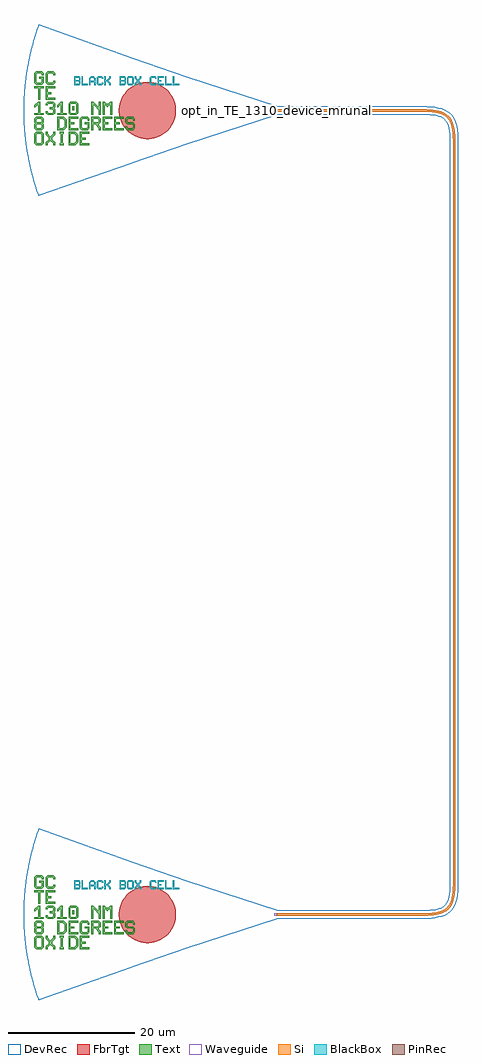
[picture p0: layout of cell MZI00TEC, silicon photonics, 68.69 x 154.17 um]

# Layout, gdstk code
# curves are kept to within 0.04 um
import gdstk
lib = gdstk.Library(unit=1e-6, precision=1e-09)
def R(c, l, rs):  # rectangles x0, y0, x1, y1
    for r in rs: c.add(gdstk.rectangle(r[:2], r[2:], *l))
def P(c, l, *ps):  # polygons
    for p in ps: c.add(gdstk.Polygon(p, *l))
Si = (1, 0)
PinRec = (1, 10)
Waveguide = (1, 99)
Text = (10, 0)
DevRec = (68, 0)
FbrTgt = (81, 0)
BlackBox = (998, 0)

text = lib.new_cell('TEXT')
P(text, BlackBox, [(0,0),(0,1.4),(0.8,1.4),(1,1.2),(0.2,1.2),(0.2,0.8),(0.7,0.8),(0.8,0.9),(0.8,1.1),(0.7,1.2),(1,1.2),(1,0.8),(0.9,0.7),(1,0.6),(0.2,0.6),(0.2,0.2),(0.7,0.2),(0.8,0.3),(0.8,0.5),(0.7,0.6),(1,0.6),(1,0.2),(0.8,0)],
  [(1.2,0),(1.2,1.4),(1.4,1.4),(1.4,0.2),(2.2,0.2),(2.2,0)],
  [(2.4,0),(2.4,1.1),(2.7,1.4),(3.1,1.4),(3.3,1.2),(2.8,1.2),(2.6,1),(2.6,0.7),(3.2,0.7),(3.2,1),(3,1.2),(3.3,1.2),(3.4,1.1),(3.4,0),(3.2,0),(3.2,0.5),(2.6,0.5),(2.6,0)],
  [(3.8,0),(3.6,0.2),(3.6,1.2),(3.8,1.4),(4.4,1.4),(4.6,1.2),(4.6,1),(4.4,1),(4.4,1.1),(4.3,1.2),(3.9,1.2),(3.8,1.1),(3.8,0.3),(3.9,0.2),(4.3,0.2),(4.4,0.3),(4.4,0.4),(4.6,0.4),(4.6,0.2),(4.4,0)],
  [(4.8,0),(4.8,1.4),(5,1.4),(5,0.8),(5.2,0.8),(5.6,1.2),(5.6,1.4),(5.8,1.4),(5.8,1.1),(5.4,0.7),(5.8,0.3),(5.8,0),(5.6,0),(5.6,0.2),(5.2,0.6),(5,0.6),(5,0)],
  [(7.2,0),(7.2,1.4),(8,1.4),(8.2,1.2),(7.4,1.2),(7.4,0.8),(7.9,0.8),(8,0.9),(8,1.1),(7.9,1.2),(8.2,1.2),(8.2,0.8),(8.1,0.7),(8.2,0.6),(7.4,0.6),(7.4,0.2),(7.9,0.2),(8,0.3),(8,0.5),(7.9,0.6),(8.2,0.6),(8.2,0.2),(8,0)],
  [(8.6,0),(8.4,0.2),(8.4,1.2),(8.6,1.4),(9.2,1.4),(9.4,1.2),(9.4,0.7),(9.2,0.7),(9.2,1.1),(9.1,1.2),(8.7,1.2),(8.6,1.1),(8.6,0.3),(8.7,0.2),(9.1,0.2),(9.2,0.3),(9.2,0.7),(9.4,0.7),(9.4,0.2),(9.2,0)],
  [(9.6,0),(9.6,0.3),(9.9,0.6),(9.9,0.8),(9.6,1.1),(9.6,1.4),(9.8,1.4),(9.8,1.2),(10.1,0.9),(10.4,1.2),(10.4,1.4),(10.6,1.4),(10.6,1.1),(10.3,0.8),(10.3,0.6),(10.6,0.3),(10.6,0),(10.4,0),(10.4,0.2),(10.1,0.5),(9.8,0.2),(9.8,0)],
  [(12.2,0),(12,0.2),(12,1.2),(12.2,1.4),(12.8,1.4),(13,1.2),(13,1),(12.8,1),(12.8,1.1),(12.7,1.2),(12.3,1.2),(12.2,1.1),(12.2,0.3),(12.3,0.2),(12.7,0.2),(12.8,0.3),(12.8,0.4),(13,0.4),(13,0.2),(12.8,0)],
  [(13.2,0),(13.2,1.4),(14.2,1.4),(14.2,1.2),(13.4,1.2),(13.4,0.8),(13.8,0.8),(13.8,0.6),(13.4,0.6),(13.4,0.2),(14.2,0.2),(14.2,0)],
  [(14.4,0),(14.4,1.4),(14.6,1.4),(14.6,0.2),(15.4,0.2),(15.4,0)],
  [(15.6,0),(15.6,1.4),(15.8,1.4),(15.8,0.2),(16.6,0.2),(16.6,0)])

gc_te_1310_8degoxide_bb = lib.new_cell('GC_TE_1310_8degOxide_BB')
R(gc_te_1310_8degoxide_bb, Waveguide, [(-0.4,-0.175,0,0.175)])
R(gc_te_1310_8degoxide_bb, Text, [(-32.27,0.06,-31.97,0.66)])
P(gc_te_1310_8degoxide_bb, Text, [(-37.67,1.71),(-37.67,3.51),(-38.27,3.51),(-38.27,3.81),(-36.77,3.81),(-36.77,3.51),(-37.37,3.51),(-37.37,1.71)],
  [(-37.97,-5.49),(-38.27,-5.19),(-38.27,-3.69),(-37.97,-3.39),(-37.07,-3.39),(-36.77,-3.69),(-36.77,-4.44),(-37.07,-4.44),(-37.07,-3.84),(-37.22,-3.69),(-37.82,-3.69),(-37.97,-3.84),(-37.97,-5.04),(-37.82,-5.19),(-37.22,-5.19),(-37.07,-5.04),(-37.07,-4.44),(-36.77,-4.44),(-36.77,-5.19),(-37.07,-5.49)],
  [(-31.07,-5.49),(-31.07,-3.39),(-29.57,-3.39),(-29.57,-3.69),(-30.77,-3.69),(-30.77,-4.29),(-30.17,-4.29),(-30.17,-4.59),(-30.77,-4.59),(-30.77,-5.19),(-29.57,-5.19),(-29.57,-5.49)],
  [(-32.87,-3.09),(-32.87,-0.99),(-31.37,-0.99),(-31.37,-1.29),(-32.57,-1.29),(-32.57,-1.89),(-31.97,-1.89),(-31.97,-2.19),(-32.57,-2.19),(-32.57,-2.79),(-31.37,-2.79),(-31.37,-3.09)],
  [(-27.47,-3.09),(-27.47,-0.99),(-25.97,-0.99),(-25.97,-1.29),(-27.17,-1.29),(-27.17,-1.89),(-26.57,-1.89),(-26.57,-2.19),(-27.17,-2.19),(-27.17,-2.79),(-25.97,-2.79),(-25.97,-3.09)],
  [(-25.67,-3.09),(-25.67,-0.99),(-24.17,-0.99),(-24.17,-1.29),(-25.37,-1.29),(-25.37,-1.89),(-24.77,-1.89),(-24.77,-2.19),(-25.37,-2.19),(-25.37,-2.79),(-24.17,-2.79),(-24.17,-3.09)],
  [(-36.47,1.71),(-36.47,3.81),(-34.97,3.81),(-34.97,3.51),(-36.17,3.51),(-36.17,2.91),(-35.57,2.91),(-35.57,2.61),(-36.17,2.61),(-36.17,2.01),(-34.97,2.01),(-34.97,1.71)],
  [(-27.47,-0.69),(-27.47,1.41),(-27.17,1.41),(-26.87,1.11),(-26.57,1.11),(-26.27,1.41),(-25.97,1.41),(-25.97,-0.69),(-26.27,-0.69),(-26.27,0.81),(-26.42,0.81),(-26.72,0.51),(-27.02,0.81),(-27.17,0.81),(-27.17,-0.69)],
  [(-29.27,-0.69),(-29.27,1.41),(-28.97,1.41),(-28.22,0.66),(-28.07,0.66),(-28.07,1.41),(-27.77,1.41),(-27.77,-0.69),(-28.07,-0.69),(-28.07,0.06),(-28.82,0.81),(-28.97,0.81),(-28.97,-0.69)],
  [(-34.22,-5.49),(-34.22,-5.19),(-34.07,-5.19),(-34.07,-3.69),(-34.22,-3.69),(-34.22,-3.39),(-33.62,-3.39),(-33.62,-3.69),(-33.77,-3.69),(-33.77,-5.19),(-33.62,-5.19),(-33.62,-5.49)],
  [(-36.17,-0.69),(-36.47,-0.39),(-36.47,-0.09),(-36.17,-0.09),(-36.17,-0.24),(-36.02,-0.39),(-35.42,-0.39),(-35.27,-0.24),(-35.27,0.06),(-35.42,0.21),(-35.87,0.21),(-35.87,0.51),(-35.42,0.51),(-35.27,0.66),(-35.27,0.96),(-35.42,1.11),(-36.02,1.11),(-36.17,0.96),(-36.17,0.81),(-36.47,0.81),(-36.47,1.11),(-36.17,1.41),(-35.27,1.41),(-34.97,1.11),(-34.97,0.51),(-35.12,0.36),(-34.97,0.21),(-34.97,-0.39),(-35.27,-0.69)],
  [(-29.27,-3.09),(-29.27,-0.99),(-28.07,-0.99),(-27.77,-1.29),(-28.97,-1.29),(-28.97,-1.89),(-28.22,-1.89),(-28.07,-1.74),(-28.07,-1.44),(-28.22,-1.29),(-27.77,-1.29),(-27.77,-1.89),(-28.07,-2.19),(-28.07,-2.34),(-27.77,-2.64),(-27.77,-3.09),(-28.07,-3.09),(-28.07,-2.79),(-28.67,-2.19),(-28.97,-2.19),(-28.97,-3.09)],
  [(-30.77,-3.09),(-31.07,-2.79),(-31.07,-1.29),(-30.77,-0.99),(-29.87,-0.99),(-29.57,-1.29),(-29.57,-1.59),(-29.87,-1.59),(-29.87,-1.44),(-30.02,-1.29),(-30.62,-1.29),(-30.77,-1.44),(-30.77,-2.64),(-30.62,-2.79),(-30.02,-2.79),(-29.87,-2.64),(-29.87,-2.19),(-30.32,-2.19),(-30.32,-1.89),(-29.57,-1.89),(-29.57,-2.79),(-29.87,-3.09)],
  [(-37.97,4.11),(-38.27,4.41),(-38.27,5.91),(-37.97,6.21),(-37.07,6.21),(-36.77,5.91),(-36.77,5.61),(-37.07,5.61),(-37.07,5.76),(-37.22,5.91),(-37.82,5.91),(-37.97,5.76),(-37.97,4.56),(-37.82,4.41),(-37.22,4.41),(-37.07,4.56),(-37.07,5.01),(-37.52,5.01),(-37.52,5.31),(-36.77,5.31),(-36.77,4.41),(-37.07,4.11)],
  [(-32.57,-0.69),(-32.87,-0.39),(-32.87,1.11),(-32.57,1.41),(-31.67,1.41),(-31.37,1.11),(-32.42,1.11),(-32.57,0.96),(-32.57,-0.24),(-32.42,-0.39),(-31.82,-0.39),(-31.67,-0.24),(-31.67,0.96),(-31.82,1.11),(-31.37,1.11),(-31.37,-0.39),(-31.67,-0.69)],
  [(-32.87,-5.49),(-32.87,-3.39),(-31.82,-3.39),(-31.52,-3.69),(-32.57,-3.69),(-32.57,-5.19),(-31.97,-5.19),(-31.67,-4.89),(-31.67,-3.99),(-31.97,-3.69),(-31.52,-3.69),(-31.37,-3.84),(-31.37,-5.04),(-31.82,-5.49)],
  [(-34.67,-3.09),(-34.67,-0.99),(-33.62,-0.99),(-33.32,-1.29),(-34.37,-1.29),(-34.37,-2.79),(-33.77,-2.79),(-33.47,-2.49),(-33.47,-1.59),(-33.77,-1.29),(-33.32,-1.29),(-33.17,-1.44),(-33.17,-2.64),(-33.62,-3.09)],
  [(-23.57,-3.09),(-23.87,-2.79),(-23.87,-2.49),(-23.57,-2.49),(-23.57,-2.64),(-23.42,-2.79),(-22.82,-2.79),(-22.67,-2.64),(-22.67,-2.34),(-22.82,-2.19),(-23.57,-2.19),(-23.87,-1.89),(-23.87,-1.29),(-23.57,-0.99),(-22.67,-0.99),(-22.37,-1.29),(-22.37,-1.59),(-22.67,-1.59),(-22.67,-1.44),(-22.82,-1.29),(-23.42,-1.29),(-23.57,-1.44),(-23.57,-1.74),(-23.42,-1.89),(-22.67,-1.89),(-22.37,-2.19),(-22.37,-2.79),(-22.67,-3.09)],
  [(-37.97,-3.09),(-38.27,-2.79),(-38.27,-2.19),(-38.12,-2.04),(-38.27,-1.89),(-38.27,-1.29),(-37.97,-0.99),(-37.07,-0.99),(-36.77,-1.29),(-37.82,-1.29),(-37.97,-1.44),(-37.97,-1.74),(-37.82,-1.89),(-37.22,-1.89),(-37.07,-1.74),(-37.07,-1.44),(-37.22,-1.29),(-36.77,-1.29),(-36.77,-1.89),(-36.92,-2.04),(-36.77,-2.19),(-37.82,-2.19),(-37.97,-2.34),(-37.97,-2.64),(-37.82,-2.79),(-37.22,-2.79),(-37.07,-2.64),(-37.07,-2.34),(-37.22,-2.19),(-36.77,-2.19),(-36.77,-2.79),(-37.07,-3.09)],
  [(-38.27,-0.69),(-38.27,-0.39),(-37.67,-0.39),(-37.67,0.81),(-37.82,0.81),(-38.12,0.51),(-38.27,0.51),(-38.27,0.81),(-37.67,1.41),(-37.37,1.41),(-37.37,-0.39),(-36.77,-0.39),(-36.77,-0.69)],
  [(-34.67,-0.69),(-34.67,-0.39),(-34.07,-0.39),(-34.07,0.81),(-34.22,0.81),(-34.52,0.51),(-34.67,0.51),(-34.67,0.81),(-34.07,1.41),(-33.77,1.41),(-33.77,-0.39),(-33.17,-0.39),(-33.17,-0.69)],
  [(-36.47,-5.49),(-36.47,-5.04),(-36.02,-4.59),(-36.02,-4.29),(-36.47,-3.84),(-36.47,-3.39),(-36.17,-3.39),(-36.17,-3.69),(-35.72,-4.14),(-35.27,-3.69),(-35.27,-3.39),(-34.97,-3.39),(-34.97,-3.84),(-35.42,-4.29),(-35.42,-4.59),(-34.97,-5.04),(-34.97,-5.49),(-35.27,-5.49),(-35.27,-5.19),(-35.72,-4.74),(-36.17,-5.19),(-36.17,-5.49)],
  [(-36.17,4.11),(-36.47,4.41),(-36.47,5.91),(-36.17,6.21),(-35.27,6.21),(-34.97,5.91),(-34.97,5.61),(-35.27,5.61),(-35.27,5.76),(-35.42,5.91),(-36.02,5.91),(-36.17,5.76),(-36.17,4.56),(-36.02,4.41),(-35.42,4.41),(-35.27,4.56),(-35.27,4.71),(-34.97,4.71),(-34.97,4.41),(-35.27,4.11)])
P(gc_te_1310_8degoxide_bb, DevRec, [(-37.607,-13.5),(-38.627,-10.245),(-39.378,-6.832),(-39.647,-5.058),(-39.835,-3.274),(-39.969,0.224),(-39.812,3.541),(-39.331,7.097),(-38.557,10.505),(-37.546,13.669),(-22.8,8.353),(-14.109,5.36),(0,0.75),(0,-0.75),(-14.109,-5.36)])
P(gc_te_1310_8degoxide_bb, FbrTgt, [(-20.621,-4.5),(-21.495,-4.37),(-22.326,-4.073),(-23.084,-3.619),(-23.738,-3.026),(-24.264,-2.316),(-24.642,-1.518),(-24.857,-0.661),(-24.9,0.221),(-24.77,1.095),(-24.473,1.926),(-24.019,2.684),(-23.426,3.338),(-22.716,3.864),(-21.918,4.242),(-21.061,4.457),(-20.179,4.5),(-19.305,4.37),(-18.474,4.073),(-17.716,3.619),(-17.062,3.026),(-16.536,2.316),(-16.158,1.518),(-15.943,0.661),(-15.9,-0.221),(-16.03,-1.095),(-16.327,-1.926),(-16.781,-2.684),(-17.374,-3.338),(-18.084,-3.864),(-18.882,-4.242),(-19.739,-4.457)])
gc_te_1310_8degoxide_bb.add(gdstk.FlexPath([(-0.01,0),(0.01,0)], 0.35, ends="flush", simple_path=True, layer=1, datatype=10))  # PinRec
gc_te_1310_8degoxide_bb.add(gdstk.Reference(text, (-32,4)))
gc_te_1310_8degoxide_bb.add(gdstk.Label('opt1', (0,0), layer=1, texttype=10))
gc_te_1310_8degoxide_bb.add(gdstk.Label('Lumerical_INTERCONNECT_library=Design kits/ebeam', (-29,-7), layer=68, texttype=0))
gc_te_1310_8degoxide_bb.add(gdstk.Label('Component=GC_TE_1310_8degOxide_BB', (-28,-5), layer=68, texttype=0))

waveguide = lib.new_cell('Waveguide')
P(waveguide, Si, [(39.969,13.325),(39.969,13.675),(63.016,13.675),(64.584,13.747),(65.374,13.873),(65.906,14.025),(66.356,14.225),(66.731,14.477),(67.04,14.786),(67.292,15.161),(67.492,15.611),(67.674,16.289),(67.802,17.289),(67.841,18.5),(67.841,135.5),(67.787,136.893),(67.643,137.858),(67.491,138.39),(67.291,138.84),(67.039,139.215),(66.643,139.591),(66.14,139.882),(65.649,140.058),(64.408,140.272),(63.016,140.325),(39.969,140.325),(39.969,140.675),(63.237,140.674),(64.253,140.636),(65.293,140.502),(66.023,140.306),(66.637,140.017),(67.14,139.624),(67.532,139.122),(67.821,138.508),(67.985,137.934),(68.117,137.106),(68.186,135.936),(68.191,18.5),(68.152,17.263),(68.018,16.223),(67.822,15.493),(67.598,14.993),(67.31,14.564),(66.953,14.207),(66.524,13.919),(66.024,13.695),(65.45,13.531),(64.622,13.399),(63.016,13.325)])
P(waveguide, Waveguide, [(39.969,13.325),(39.969,13.675),(63.016,13.675),(64.584,13.747),(65.374,13.873),(65.906,14.025),(66.356,14.225),(66.731,14.477),(67.04,14.786),(67.292,15.161),(67.492,15.611),(67.674,16.289),(67.802,17.289),(67.841,18.5),(67.841,135.5),(67.787,136.893),(67.643,137.858),(67.491,138.39),(67.291,138.84),(67.039,139.215),(66.643,139.591),(66.14,139.882),(65.649,140.058),(64.408,140.272),(63.016,140.325),(39.969,140.325),(39.969,140.675),(63.237,140.674),(64.253,140.636),(65.293,140.502),(66.023,140.306),(66.637,140.017),(67.14,139.624),(67.532,139.122),(67.821,138.508),(67.985,137.934),(68.117,137.106),(68.186,135.936),(68.191,18.5),(68.152,17.263),(68.018,16.223),(67.822,15.493),(67.598,14.993),(67.31,14.564),(66.953,14.207),(66.524,13.919),(66.024,13.695),(65.45,13.531),(64.622,13.399),(63.016,13.325)])
P(waveguide, DevRec, [(39.969,12.825),(39.969,14.175),(63.016,14.175),(64.772,14.274),(65.615,14.455),(65.943,14.578),(66.441,14.886),(66.631,15.076),(66.939,15.574),(67.164,16.292),(67.299,17.264),(67.341,18.5),(67.341,135.5),(67.298,136.737),(67.163,137.709),(67.061,138.099),(66.794,138.698),(66.63,138.925),(66.213,139.279),(65.614,139.546),(65.224,139.648),(64.252,139.783),(39.969,139.825),(39.969,141.175),(63.016,141.175),(64.36,141.129),(65.51,140.968),(66.494,140.655),(66.927,140.425),(67.316,140.141),(67.94,139.412),(68.17,138.979),(68.483,137.995),(68.68,136.2),(68.691,18.5),(68.645,17.156),(68.484,16.006),(68.171,15.022),(67.941,14.589),(67.317,13.86),(66.495,13.346),(66.021,13.167),(64.958,12.936),(63.016,12.825)])
waveguide.add(gdstk.FlexPath([(39.979,140.5),(39.959,140.5)], 0.35, ends="flush", simple_path=True, layer=1, datatype=10))  # PinRec
waveguide.add(gdstk.FlexPath([(39.979,13.5),(39.959,13.5)], 0.35, ends="flush", simple_path=True, layer=1, datatype=10))  # PinRec
waveguide.add(gdstk.Label('opt1', (39.969,140.5), layer=1, texttype=10))
waveguide.add(gdstk.Label('opt2', (39.969,13.5), layer=1, texttype=10))
waveguide.add(gdstk.Label('Lumerical_INTERCONNECT_library=Design kits/EBeam', (39.969,140.43), layer=68, texttype=0))
waveguide.add(gdstk.Label('Component=ebeam_wg_integral_1310', (39.969,140.57), layer=68, texttype=0))
waveguide.add(gdstk.Label('cellName=Waveguide', (39.969,140.64), layer=68, texttype=0))
waveguide.add(gdstk.Label('Spice_param:wg_length=0.000180001 wg_width=3.5e-07 points="[[39.969,140.5],[68.016,140.5],[68.016,13.5],[39.969,13.5]]" radius=5e-06', (39.969,140.5), layer=68, texttype=0))
waveguide.add(gdstk.Label('Length=180.001 (microns)', (39.969,140.08), layer=68, texttype=0))
waveguide.add(gdstk.Label('waveguide_type=Strip TE 1310 nm, w=350 nm', (39.969,140.36), layer=68, texttype=0))

mzi00tec = lib.new_cell('MZI00TEC')
mzi00tec.add(gdstk.Reference(gc_te_1310_8degoxide_bb, (39.969,13.5)))
mzi00tec.add(gdstk.Reference(gc_te_1310_8degoxide_bb, (39.969,140.5)))
mzi00tec.add(gdstk.Reference(waveguide, (0,0)))
mzi00tec.add(gdstk.Label('opt_in_TE_1310_device_mrunalshah_MZ00C', (39.97,140.499), layer=10, texttype=0))

lib.write_gds('MZI00TEC.gds')
